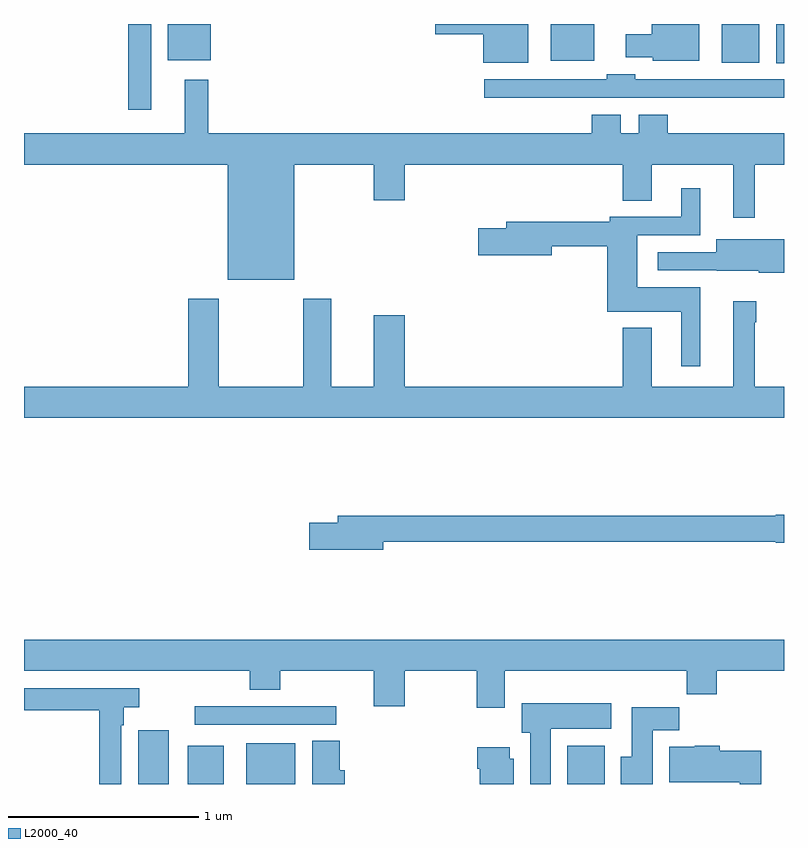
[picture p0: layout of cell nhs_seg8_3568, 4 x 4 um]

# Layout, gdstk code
import gdstk
lib = gdstk.Library(unit=1e-6, precision=1e-09)
def R(c, l, rs):  # rectangles x0, y0, x1, y1
    for r in rs: c.add(gdstk.rectangle(r[:2], r[2:], *l))
def P(c, l, *ps):  # polygons
    for p in ps: c.add(gdstk.Polygon(p, *l))
L2000_40 = (2000, 40)

nhs_seg8_3568 = lib.new_cell('nhs_seg8_3568')
R(nhs_seg8_3568, L2000_40, [(331.601,1119.9,331.762,1120.183), (331.862,1119.9,332.05,1120.102), (332.171,1119.9,332.428,1120.114), (333.86,1119.9,334.057,1120.102), (331.899,1120.212,332.644,1120.308), (331.548,1123.449,331.669,1123.9), (334.958,1123.693,335,1123.9), (334.673,1123.697,334.87,1123.9), (333.773,1123.706,334,1123.9), (331.757,1123.709,331.984,1123.9)])
P(nhs_seg8_3568, L2000_40, [(333.655,1123.9),(333.164,1123.9),(333.164,1123.847),(333.416,1123.847),(333.416,1123.697),(333.655,1123.697)],
  [(334.555,1123.9),(334.304,1123.9),(334.304,1123.846),(334.167,1123.846),(334.167,1123.724),(334.308,1123.724),(334.308,1123.706),(334.555,1123.706)],
  [(333.968,1123.512),(334.471,1123.512),(334.471,1123.511),(335,1123.511),(335,1123.608),(334.218,1123.608),(334.218,1123.636),(334.068,1123.636),(334.068,1123.608),(333.423,1123.608),(333.423,1123.511),(333.968,1123.511)],
  [(332.422,1123.16),(332.84,1123.16),(332.84,1122.972),(333.004,1122.972),(333.004,1123.16),(334.151,1123.16),(334.151,1122.97),(334.303,1122.97),(334.303,1123.16),(334.733,1123.16),(334.733,1122.879),(334.847,1122.879),(334.847,1123.16),(335,1123.16),(335,1123.324),(334.388,1123.324),(334.388,1123.423),(334.235,1123.423),(334.235,1123.324),(334.141,1123.324),(334.141,1123.423),(333.989,1123.423),(333.989,1123.324),(331.969,1123.324),(331.969,1123.606),(331.847,1123.606),(331.847,1123.324),(331,1123.324),(331,1123.16),(332.072,1123.16),(332.072,1122.554),(332.422,1122.554)],
  [(334.558,1122.514),(334.228,1122.514),(334.228,1122.789),(334.558,1122.789),(334.558,1123.036),(334.46,1123.036),(334.46,1122.885),(334.082,1122.885),(334.082,1122.859),(333.539,1122.859),(333.539,1122.825),(333.39,1122.825),(333.39,1122.683),(333.778,1122.683),(333.778,1122.73),(334.07,1122.73),(334.07,1122.386),(334.46,1122.386),(334.46,1122.099),(334.558,1122.099)],
  [(335,1122.768),(334.643,1122.768),(334.643,1122.699),(334.335,1122.699),(334.335,1122.603),(334.647,1122.603),(334.647,1122.602),(334.866,1122.602),(334.866,1122.59),(335,1122.59)],
  [(335,1121.992),(334.847,1121.992),(334.847,1122.329),(334.855,1122.329),(334.855,1122.442),(334.733,1122.442),(334.733,1121.992),(334.303,1121.992),(334.303,1122.301),(334.151,1122.301),(334.151,1121.992),(333.004,1121.992),(333.004,1122.367),(332.84,1122.367),(332.84,1121.992),(332.617,1121.992),(332.617,1122.454),(332.47,1122.454),(332.47,1121.992),(332.025,1121.992),(332.025,1122.454),(331.865,1122.454),(331.865,1121.992),(331,1121.992),(331,1121.828),(335,1121.828)],
  [(332.89,1121.176),(334.956,1121.176),(334.956,1121.171),(335,1121.171),(335,1121.318),(334.956,1121.318),(334.956,1121.312),(332.651,1121.312),(332.651,1121.276),(332.502,1121.276),(332.502,1121.134),(332.89,1121.134)],
  [(333.529,1120.496),(334.489,1120.496),(334.489,1120.372),(334.646,1120.372),(334.646,1120.496),(335,1120.496),(335,1120.66),(331,1120.66),(331,1120.496),(332.189,1120.496),(332.189,1120.397),(332.349,1120.397),(332.349,1120.496),(332.84,1120.496),(332.84,1120.308),(333.004,1120.308),(333.004,1120.496),(333.382,1120.496),(333.382,1120.302),(333.529,1120.302)],
  [(331.512,1120.208),(331.524,1120.208),(331.524,1120.304),(331.606,1120.304),(331.606,1120.404),(331,1120.404),(331,1120.288),(331.396,1120.288),(331.396,1119.9),(331.512,1119.9)],
  [(333.772,1120.19),(334.09,1120.19),(334.09,1120.324),(333.62,1120.324),(333.62,1120.17),(333.665,1120.17),(333.665,1119.9),(333.772,1119.9)],
  [(334.309,1120.184),(334.448,1120.184),(334.448,1120.303),(334.199,1120.303),(334.199,1120.044),(334.142,1120.044),(334.142,1119.9),(334.309,1119.9)],
  [(332.689,1119.973),(332.663,1119.973),(332.663,1120.127),(332.516,1120.127),(332.516,1119.9),(332.689,1119.9)],
  [(334.879,1120.074),(334.661,1120.074),(334.661,1120.102),(334.53,1120.102),(334.53,1120.096),(334.397,1120.096),(334.397,1119.908),(334.766,1119.908),(334.766,1119.9),(334.879,1119.9)],
  [(333.577,1120.032),(333.556,1120.032),(333.556,1120.093),(333.386,1120.093),(333.386,1119.98),(333.398,1119.98),(333.398,1119.9),(333.577,1119.9)])

lib.write_gds('nhs_seg8_3568.gds')
